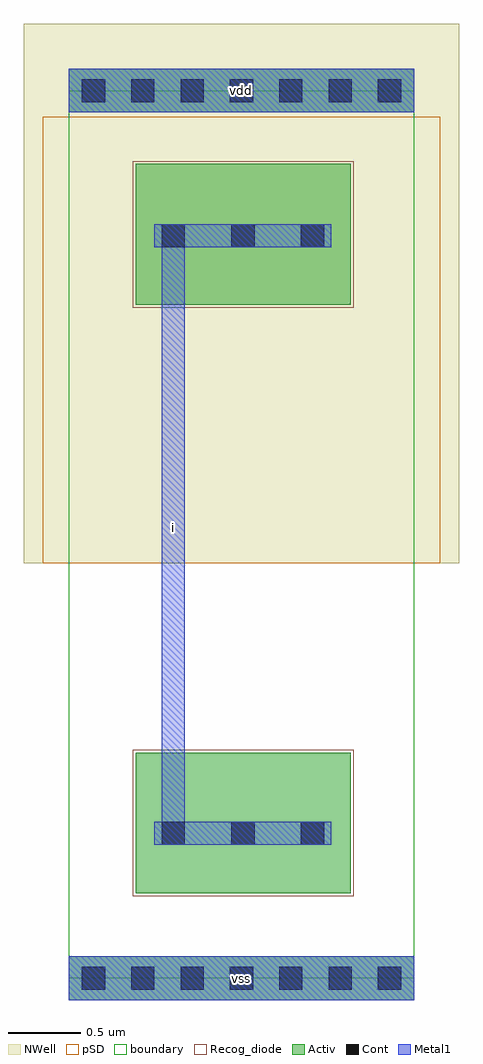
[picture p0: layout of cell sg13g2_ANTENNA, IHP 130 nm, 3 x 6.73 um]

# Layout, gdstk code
import gdstk
lib = gdstk.Library(unit=1e-6, precision=1e-09)
def R(c, l, rs):  # rectangles x0, y0, x1, y1
    for r in rs: c.add(gdstk.rectangle(r[:2], r[2:], *l))
def A(c, l, x, y, w, h, nx, ny, dx, dy):  # array of equal rectangles
    R(c, l, [(x+i*dx, y+j*dy, x+i*dx+w, y+j*dy+h) for i in range(nx) for j in range(ny)])
Activ = (1, 0)
Cont = (6, 0)
Metal1 = (8, 0)
pSD = (14, 0)
NWell = (31, 0)
TEXT = (63, 0)
Recog_diode = (99, 31)
boundary = (189, 4)

sg13g2_antenna = lib.new_cell('sg13g2_ANTENNA')
R(sg13g2_antenna, Activ, [(0,-0.15,2.38,0.15), (0.46,0.585,1.945,1.555), (0.46,4.645,1.945,5.615), (0,5.97,2.38,6.27)])
A(sg13g2_antenna, Cont, 0.09, -0.08, 0.16, 0.16, 7, 2, 0.34, 6.12)
A(sg13g2_antenna, Cont, 0.64, 0.92, 0.16, 0.16, 3, 2, 0.48, 4.12)
A(sg13g2_antenna, Metal1, 0.59, 0.92, 0.26, 0.16, 3, 2, 0.48, 4.12)
R(sg13g2_antenna, Metal1, [(0,-0.15,2.38,0.15), (0.64,0.92,1.76,1.08), (0.64,1.08,0.8,5.04), (0.64,5.04,1.76,5.2), (0,5.97,2.38,6.27)])
R(sg13g2_antenna, pSD, [(-0.18,2.86,0.18,5.94), (0.18,2.86,2.2,5.94), (2.2,2.86,2.56,5.94)])
R(sg13g2_antenna, NWell, [(-0.31,2.86,2.69,6.58)])
R(sg13g2_antenna, Recog_diode, [(0.44,0.565,1.965,1.575), (0.44,4.625,1.965,5.635)])
R(sg13g2_antenna, boundary, [(0,0,2.38,6.12)])
sg13g2_antenna.add(gdstk.FlexPath([(0.59,0.41),(1.81,0.41)], 0, ends="flush", simple_path=True, layer=63, datatype=0))  # TEXT
sg13g2_antenna.add(gdstk.FlexPath([(0.59,1),(1.81,1)], 0, ends="flush", simple_path=True, layer=63, datatype=0))  # TEXT
sg13g2_antenna.add(gdstk.FlexPath([(0.59,1.56),(1.81,1.56)], 0, ends="flush", simple_path=True, layer=63, datatype=0))  # TEXT
sg13g2_antenna.add(gdstk.FlexPath([(0.59,2.15),(1.81,2.15)], 0, ends="flush", simple_path=True, layer=63, datatype=0))  # TEXT
sg13g2_antenna.add(gdstk.FlexPath([(0.59,2.63),(1.81,2.63)], 0, ends="flush", simple_path=True, layer=63, datatype=0))  # TEXT
sg13g2_antenna.add(gdstk.FlexPath([(0.59,3.11),(1.81,3.11)], 0, ends="flush", simple_path=True, layer=63, datatype=0))  # TEXT
sg13g2_antenna.add(gdstk.FlexPath([(0.59,4.08),(1.81,4.08)], 0, ends="flush", simple_path=True, layer=63, datatype=0))  # TEXT
sg13g2_antenna.add(gdstk.FlexPath([(0.59,4.44),(1.81,4.44)], 0, ends="flush", simple_path=True, layer=63, datatype=0))  # TEXT
sg13g2_antenna.add(gdstk.FlexPath([(0.59,4.78),(1.81,4.78)], 0, ends="flush", simple_path=True, layer=63, datatype=0))  # TEXT
sg13g2_antenna.add(gdstk.FlexPath([(0.59,5.12),(1.81,5.12)], 0, ends="flush", simple_path=True, layer=63, datatype=0))  # TEXT
sg13g2_antenna.add(gdstk.FlexPath([(0.59,5.71),(1.81,5.71)], 0, ends="flush", simple_path=True, layer=63, datatype=0))  # TEXT
sg13g2_antenna.add(gdstk.FlexPath([(0.72,0.07),(0.72,6.05)], 0, ends="flush", simple_path=True, layer=63, datatype=0))  # TEXT
sg13g2_antenna.add(gdstk.FlexPath([(1.2,0.07),(1.2,6.05)], 0, ends="flush", simple_path=True, layer=63, datatype=0))  # TEXT
sg13g2_antenna.add(gdstk.FlexPath([(1.68,0.07),(1.68,6.05)], 0, ends="flush", simple_path=True, layer=63, datatype=0))  # TEXT
sg13g2_antenna.add(gdstk.Label('i', (0.72,3.11), layer=8, texttype=0))
sg13g2_antenna.add(gdstk.Label('vss', (1.19,0), layer=8, texttype=25))
sg13g2_antenna.add(gdstk.Label('vdd', (1.19,6.12), layer=8, texttype=25))

lib.write_gds('sg13g2_ANTENNA.gds')
